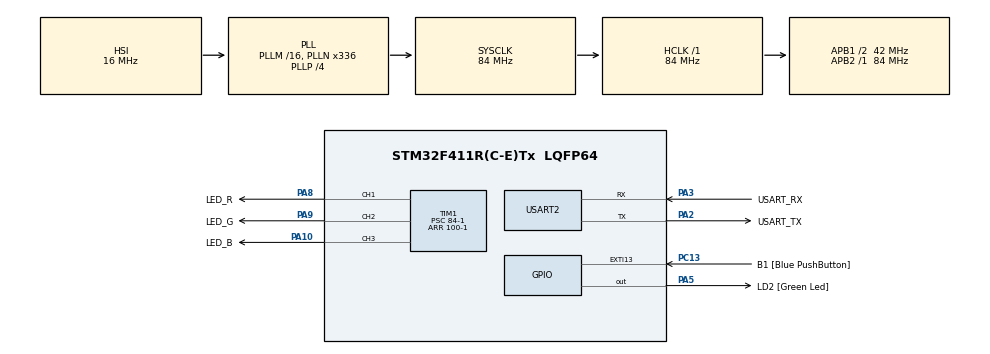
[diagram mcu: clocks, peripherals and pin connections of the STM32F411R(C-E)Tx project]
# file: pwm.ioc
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Mcu.Family=STM32F4
Mcu.Name=STM32F411R(C-E)Tx
Mcu.Package=LQFP64
NVIC.PriorityGroup=NVIC_PRIORITYGROUP_0
NVIC.TIM1_UP_TIM10_IRQn=true\:0\:0\:false\:false\:true\:true\:true\:true
PA10.GPIO_Label=LED_B
PA10.Signal=S_TIM1_CH3
PA13.GPIO_Label=TMS
PA13.Mode=Serial_Wire
PA13.Signal=SYS_JTMS-SWDIO
PA14.GPIO_Label=TCK
PA14.Mode=Serial_Wire
PA14.Signal=SYS_JTCK-SWCLK
PA2.GPIO_Label=USART_TX
PA2.Mode=Asynchronous
PA2.Signal=USART2_TX
PA3.GPIO_Label=USART_RX
PA3.Mode=Asynchronous
PA3.Signal=USART2_RX
PA5.GPIO_Label=LD2 [Green Led]
PA5.Signal=GPIO_Output
PA8.GPIO_Label=LED_R
PA8.Signal=S_TIM1_CH1
PA9.GPIO_Label=LED_G
PA9.Signal=S_TIM1_CH2
PB3.GPIO_Label=SWO
PB3.Signal=SYS_JTDO-SWO
PC13-ANTI_TAMP.GPIO_Label=B1 [Blue PushButton]
PC13-ANTI_TAMP.GPIO_ModeDefaultEXTI=GPIO_MODE_IT_FALLING
PC13-ANTI_TAMP.Signal=GPXTI13
PC14-OSC32_IN.Mode=LSE-External-Oscillator
PC14-OSC32_IN.Signal=RCC_OSC32_IN
PC15-OSC32_OUT.Mode=LSE-External-Oscillator
PC15-OSC32_OUT.Signal=RCC_OSC32_OUT
PH0\ -\ OSC_IN.Mode=HSE-External-Clock-Source
PH0\ -\ OSC_IN.Signal=RCC_OSC_IN
PH1\ -\ OSC_OUT.Mode=HSE-External-Clock-Source
PH1\ -\ OSC_OUT.Signal=RCC_OSC_OUT
ProjectManager.HeapSize=0x200
ProjectManager.StackSize=0x400
ProjectManager.TargetToolchain=STM32CubeIDE
RCC.48MHZClocksFreq_Value=84000000
RCC.AHBFreq_Value=84000000
RCC.APB1CLKDivider=RCC_HCLK_DIV2
RCC.APB1Freq_Value=42000000
RCC.APB1TimFreq_Value=84000000
RCC.APB2Freq_Value=84000000
RCC.APB2TimFreq_Value=84000000
RCC.CortexFreq_Value=84000000
RCC.FLatency-AdvancedSettings=FLASH_LATENCY_2
RCC.HCLKFreq_Value=84000000
RCC.HSE_VALUE=8000000
RCC.HSI_VALUE=16000000
RCC.PLLN=336
RCC.PLLP=RCC_PLLP_DIV4
RCC.SYSCLKFreq_VALUE=84000000
RCC.SYSCLKSource=RCC_SYSCLKSOURCE_PLLCLK
RCC.VCOOutputFreq_Value=336000000
SH.S_TIM1_CH1.0=TIM1_CH1,PWM Generation1 CH1
SH.S_TIM1_CH2.0=TIM1_CH2,PWM Generation2 CH2
SH.S_TIM1_CH3.0=TIM1_CH3,PWM Generation3 CH3
TIM1.Channel-PWM\ Generation1\ CH1=TIM_CHANNEL_1
TIM1.Channel-PWM\ Generation2\ CH2=TIM_CHANNEL_2
TIM1.Channel-PWM\ Generation3\ CH3=TIM_CHANNEL_3
TIM1.Period=100-1
TIM1.Prescaler=84-1
USART2.VirtualMode=VM_ASYNC
VP_TIM1_VS_ClockSourceINT.Mode=Internal
board=NUCLEO-F411RE

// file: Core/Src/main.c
/* USER CODE BEGIN Header */
/**
  ******************************************************************************
  * @file           : main.c
  * @brief          : Main program body
  ******************************************************************************
  * @attention
  *
  * Copyright (c) 2023 STMicroelectronics.
  * All rights reserved.
  *
  * This software is licensed under terms that can be found in the LICENSE file
  * in the root directory of this software component.
  * If no LICENSE file comes with this software, it is provided AS-IS.
  *
  ******************************************************************************
  */
/* USER CODE END Header */
#include "main.h"

/* USER CODE BEGIN Includes */
#include <math.h>
#include <stdlib.h>
/* USER CODE END Includes */

TIM_HandleTypeDef htim1;

UART_HandleTypeDef huart2;

/* USER CODE BEGIN PV */
uint16_t isr_count = 0;
int unhandled_interrupt = 0;
/* USER CODE END PV */

void SystemClock_Config(void);
static void MX_GPIO_Init(void);
static void MX_USART2_UART_Init(void);
static void MX_TIM1_Init(void);

/* USER CODE BEGIN 0 */
void HAL_TIM_PeriodElapsedCallback(TIM_HandleTypeDef *htim)
{
	if (htim->Instance == TIM1)
	{
		//isr_count++;
		unhandled_interrupt = 1;
	}

}
/* USER CODE END 0 */

int main(void)
{

  /* MCU Configuration--------------------------------------------------------*/

  /* Reset of all peripherals, Initializes the Flash interface and the Systick. */
  HAL_Init();

  /* Configure the system clock */
  SystemClock_Config();

  /* Initialize all configured peripherals */
  MX_GPIO_Init();
  MX_USART2_UART_Init();
  MX_TIM1_Init();
  /* USER CODE BEGIN 2 */
  HAL_TIM_Base_Start_IT(&htim1);
  HAL_TIM_PWM_Start(&htim1, TIM_CHANNEL_1);
  HAL_TIM_PWM_Start(&htim1, TIM_CHANNEL_2);
  HAL_TIM_PWM_Start(&htim1, TIM_CHANNEL_3);

  TIM1->CCR1 = 10;
  TIM1->CCR2 = 0;
  TIM1->CCR3 = 2;
  /* USER CODE END 2 */

  /* Infinite loop */
  /* USER CODE BEGIN WHILE */
  static float t = 0.0f;
  const float offset = (2*M_PI/3);
  const int ARR = 99;
  const float f = 0.64;
  float rf = 10, gf = 0, bf = 2;
  const float half_arr = (ARR+1) / 2.0f; /* set to (ARR+1) / 2.0f !!! */

  while (1)
  {
	  if (unhandled_interrupt == 1)
	  {
        // t = t + 0.0001;

        // rf = (ARR+1)*sinf(2*M_PI*f*t + 0*offset);
        // gf = (ARR+1)*sinf(2*M_PI*f*t + 1*offset);
        // bf = (ARR+1)*sinf(2*M_PI*f*t + 2*offset);

        // if (bf < 0) {
        // 	bf = -bf;
        // }

        // if (gf < 0) {
        // 	gf = -gf;
        // }

        // if (bf < 0) {
        // 	bf = -bf;
        // }

        // TIM1->CCR1 = rf * 0.40;
        // TIM1->CCR2 = gf * 0.10;
        // TIM1->CCR3 = bf * 0.03;

        // if (t == 10) {
        // 	t = 10;
        // }

        rf = sinf((M_TWOPI * f * t) + (0 * offset));
        gf = sinf((M_TWOPI * f * t) + (1 * offset));
        bf = sinf((M_TWOPI * f * t) + (2 * offset));
        rf = (rf + 1.0) * half_arr;
        gf = (gf + 1.0) * half_arr;
        bf = (bf + 1.0) * half_arr;
        TIM1->CCR1 = rf * 0.40;
        TIM1->CCR2 = gf * 0.10;
        TIM1->CCR3 = bf * 0.03;
        t += 0.0001; // should be (1 / f_TIM)

        unhandled_interrupt = 0;
	  }

	  //uint32_t duty = (isr_count / 32) % 100;
	  //TIM1->CCR1 = duty;
    /* USER CODE END WHILE */

  }
}

void SystemClock_Config(void)
{
  RCC_OscInitTypeDef RCC_OscInitStruct = {0};
  RCC_ClkInitTypeDef RCC_ClkInitStruct = {0};

  /** Configure the main internal regulator output voltage
  */
  __HAL_RCC_PWR_CLK_ENABLE();
  __HAL_PWR_VOLTAGESCALING_CONFIG(PWR_REGULATOR_VOLTAGE_SCALE1);

  /** Initializes the RCC Oscillators according to the specified parameters
  * in the RCC_OscInitTypeDef structure.
  */
  RCC_OscInitStruct.OscillatorType = RCC_OSCILLATORTYPE_HSI;
  RCC_OscInitStruct.HSIState = RCC_HSI_ON;
  RCC_OscInitStruct.HSICalibrationValue = RCC_HSICALIBRATION_DEFAULT;
  RCC_OscInitStruct.PLL.PLLState = RCC_PLL_ON;
  RCC_OscInitStruct.PLL.PLLSource = RCC_PLLSOURCE_HSI;
  RCC_OscInitStruct.PLL.PLLM = 16;
  RCC_OscInitStruct.PLL.PLLN = 336;
  RCC_OscInitStruct.PLL.PLLP = RCC_PLLP_DIV4;
  RCC_OscInitStruct.PLL.PLLQ = 4;
  if (HAL_RCC_OscConfig(&RCC_OscInitStruct) != HAL_OK)
  {
    Error_Handler();
  }

  /** Initializes the CPU, AHB and APB buses clocks
  */
  RCC_ClkInitStruct.ClockType = RCC_CLOCKTYPE_HCLK|RCC_CLOCKTYPE_SYSCLK
                              |RCC_CLOCKTYPE_PCLK1|RCC_CLOCKTYPE_PCLK2;
  RCC_ClkInitStruct.SYSCLKSource = RCC_SYSCLKSOURCE_PLLCLK;
  RCC_ClkInitStruct.AHBCLKDivider = RCC_SYSCLK_DIV1;
  RCC_ClkInitStruct.APB1CLKDivider = RCC_HCLK_DIV2;
  RCC_ClkInitStruct.APB2CLKDivider = RCC_HCLK_DIV1;

  if (HAL_RCC_ClockConfig(&RCC_ClkInitStruct, FLASH_LATENCY_2) != HAL_OK)
  {
    Error_Handler();
  }
}

static void MX_TIM1_Init(void)
{

  TIM_ClockConfigTypeDef sClockSourceConfig = {0};
  TIM_MasterConfigTypeDef sMasterConfig = {0};
  TIM_OC_InitTypeDef sConfigOC = {0};
  TIM_BreakDeadTimeConfigTypeDef sBreakDeadTimeConfig = {0};

  htim1.Instance = TIM1;
  htim1.Init.Prescaler = 84-1;
  htim1.Init.CounterMode = TIM_COUNTERMODE_UP;
  htim1.Init.Period = 100-1;
  htim1.Init.ClockDivision = TIM_CLOCKDIVISION_DIV1;
  htim1.Init.RepetitionCounter = 0;
  htim1.Init.AutoReloadPreload = TIM_AUTORELOAD_PRELOAD_DISABLE;
  if (HAL_TIM_Base_Init(&htim1) != HAL_OK)
  {
    Error_Handler();
  }
  sClockSourceConfig.ClockSource = TIM_CLOCKSOURCE_INTERNAL;
  if (HAL_TIM_ConfigClockSource(&htim1, &sClockSourceConfig) != HAL_OK)
  {
    Error_Handler();
  }
  if (HAL_TIM_PWM_Init(&htim1) != HAL_OK)
  {
    Error_Handler();
  }
  sMasterConfig.MasterOutputTrigger = TIM_TRGO_RESET;
  sMasterConfig.MasterSlaveMode = TIM_MASTERSLAVEMODE_DISABLE;
  if (HAL_TIMEx_MasterConfigSynchronization(&htim1, &sMasterConfig) != HAL_OK)
  {
    Error_Handler();
  }
  sConfigOC.OCMode = TIM_OCMODE_PWM1;
  sConfigOC.Pulse = 0;
  sConfigOC.OCPolarity = TIM_OCPOLARITY_HIGH;
  sConfigOC.OCNPolarity = TIM_OCNPOLARITY_HIGH;
  sConfigOC.OCFastMode = TIM_OCFAST_DISABLE;
  sConfigOC.OCIdleState = TIM_OCIDLESTATE_RESET;
  sConfigOC.OCNIdleState = TIM_OCNIDLESTATE_RESET;
  if (HAL_TIM_PWM_ConfigChannel(&htim1, &sConfigOC, TIM_CHANNEL_1) != HAL_OK)
  {
    Error_Handler();
  }
  if (HAL_TIM_PWM_ConfigChannel(&htim1, &sConfigOC, TIM_CHANNEL_2) != HAL_OK)
  {
    Error_Handler();
  }
  if (HAL_TIM_PWM_ConfigChannel(&htim1, &sConfigOC, TIM_CHANNEL_3) != HAL_OK)
  {
    Error_Handler();
  }
  sBreakDeadTimeConfig.OffStateRunMode = TIM_OSSR_DISABLE;
  sBreakDeadTimeConfig.OffStateIDLEMode = TIM_OSSI_DISABLE;
  sBreakDeadTimeConfig.LockLevel = TIM_LOCKLEVEL_OFF;
  sBreakDeadTimeConfig.DeadTime = 0;
  sBreakDeadTimeConfig.BreakState = TIM_BREAK_DISABLE;
  sBreakDeadTimeConfig.BreakPolarity = TIM_BREAKPOLARITY_HIGH;
  sBreakDeadTimeConfig.AutomaticOutput = TIM_AUTOMATICOUTPUT_DISABLE;
  if (HAL_TIMEx_ConfigBreakDeadTime(&htim1, &sBreakDeadTimeConfig) != HAL_OK)
  {
    Error_Handler();
  }
  HAL_TIM_MspPostInit(&htim1);

}

static void MX_USART2_UART_Init(void)
{

  huart2.Instance = USART2;
  huart2.Init.BaudRate = 115200;
  huart2.Init.WordLength = UART_WORDLENGTH_8B;
  huart2.Init.StopBits = UART_STOPBITS_1;
  huart2.Init.Parity = UART_PARITY_NONE;
  huart2.Init.Mode = UART_MODE_TX_RX;
  huart2.Init.HwFlowCtl = UART_HWCONTROL_NONE;
  huart2.Init.OverSampling = UART_OVERSAMPLING_16;
  if (HAL_UART_Init(&huart2) != HAL_OK)
  {
    Error_Handler();
  }

}

static void MX_GPIO_Init(void)
{
  GPIO_InitTypeDef GPIO_InitStruct = {0};

  /* GPIO Ports Clock Enable */
  __HAL_RCC_GPIOC_CLK_ENABLE();
  __HAL_RCC_GPIOH_CLK_ENABLE();
  __HAL_RCC_GPIOA_CLK_ENABLE();
  __HAL_RCC_GPIOB_CLK_ENABLE();

  /*Configure GPIO pin Output Level */
  HAL_GPIO_WritePin(LD2_GPIO_Port, LD2_Pin, GPIO_PIN_RESET);

  /*Configure GPIO pin : B1_Pin */
  GPIO_InitStruct.Pin = B1_Pin;
  GPIO_InitStruct.Mode = GPIO_MODE_IT_FALLING;
  GPIO_InitStruct.Pull = GPIO_NOPULL;
  HAL_GPIO_Init(B1_GPIO_Port, &GPIO_InitStruct);

  /*Configure GPIO pin : LD2_Pin */
  GPIO_InitStruct.Pin = LD2_Pin;
  GPIO_InitStruct.Mode = GPIO_MODE_OUTPUT_PP;
  GPIO_InitStruct.Pull = GPIO_NOPULL;
  GPIO_InitStruct.Speed = GPIO_SPEED_FREQ_LOW;
  HAL_GPIO_Init(LD2_GPIO_Port, &GPIO_InitStruct);

}

void Error_Handler(void)
{
  __disable_irq();
  while (1)
  {
  }
}
